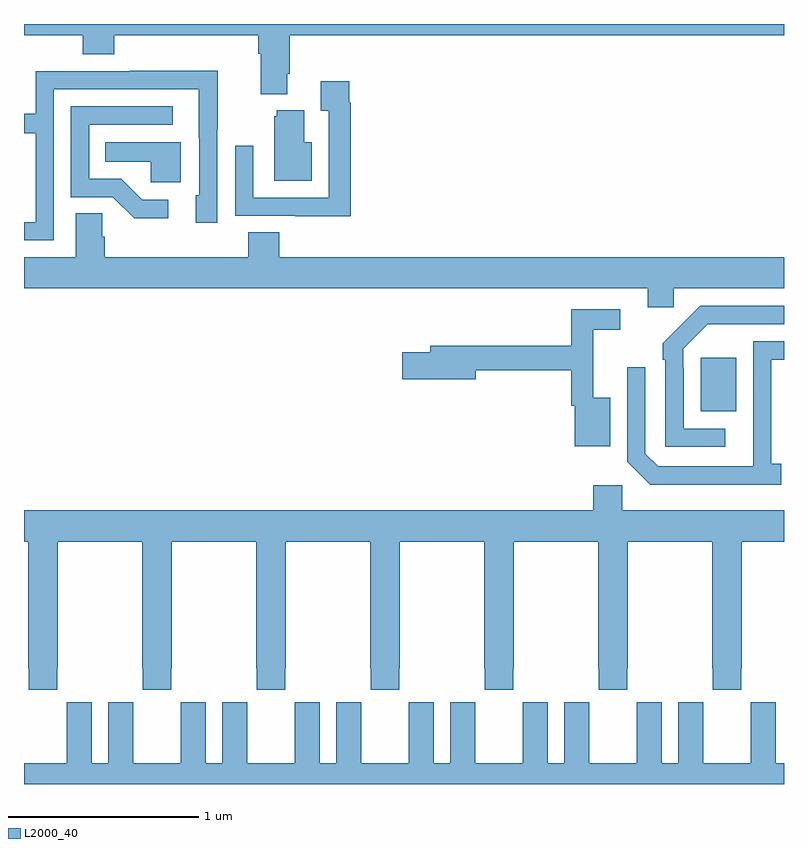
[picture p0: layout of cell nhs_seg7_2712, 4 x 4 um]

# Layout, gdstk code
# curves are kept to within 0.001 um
import gdstk
lib = gdstk.Library(unit=1e-6, precision=1e-09)
def R(c, l, rs):  # rectangles x0, y0, x1, y1
    for r in rs: c.add(gdstk.rectangle(r[:2], r[2:], *l))
def P(c, l, *ps):  # polygons
    for p in ps: c.add(gdstk.Polygon(p, *l))
L2000_40 = (2000, 40)

nhs_seg7_2712 = lib.new_cell('nhs_seg7_2712')
R(nhs_seg7_2712, L2000_40, [(290.561,1007.963,290.749,1008.244)])
P(nhs_seg7_2712, L2000_40, [(288.385,1009.738),(288.398,1009.738),(288.398,1009.94),(291,1009.94),(291,1010),(287,1010),(287,1009.94),(287.309,1009.94),(287.309,1009.841),(287.474,1009.841),(287.474,1009.94),(288.233,1009.94),(288.233,1009.844),(288.245,1009.844),(288.245,1009.631),(288.385,1009.631)],
  [(287.157,1009.656),(287.921,1009.656),(287.921,1009.402),(287.922,1009.402),(287.922,1009.098),(287.903,1009.098),(287.903,1008.954),(288.018,1008.954),(288.018,1009.447),(288.021,1009.447),(288.021,1009.754),(287.557,1009.754),(287.557,1009.752),(287.061,1009.752),(287.061,1009.527),(287,1009.527),(287,1009.426),(287.061,1009.426),(287.061,1008.957),(287,1008.957),(287,1008.861),(287.157,1008.861)],
  [(288.719,1009.586),(288.712,1009.586),(288.712,1009.699),(288.563,1009.699),(288.563,1009.543),(288.603,1009.543),(288.603,1009.086),(288.207,1009.086),(288.207,1009.36),(288.111,1009.36),(288.111,1008.99),(288.427,1008.99),(288.427,1008.989),(288.719,1008.989)],
  [(287.758,1009.074),(287.623,1009.074),(287.512,1009.185),(287.343,1009.185),(287.343,1009.47),(287.782,1009.47),(287.782,1009.566),(287.247,1009.566),(287.247,1009.089),(287.466,1009.089),(287.579,1008.977),(287.758,1008.977)],
  [(288.514,1009.378),(288.475,1009.378),(288.475,1009.546),(288.329,1009.546),(288.329,1009.515),(288.317,1009.515),(288.317,1009.175),(288.514,1009.175)],
  [(287.824,1009.378),(287.428,1009.378),(287.428,1009.274),(287.667,1009.274),(287.667,1009.166),(287.824,1009.166)],
  [(290.421,1008.608),(291,1008.608),(291,1008.772),(288.344,1008.772),(288.344,1008.905),(288.179,1008.905),(288.179,1008.772),(287.426,1008.772),(287.426,1008.881),(287.412,1008.881),(287.412,1009.004),(287.273,1009.004),(287.273,1008.772),(287,1008.772),(287,1008.608),(290.282,1008.608),(290.282,1008.51),(290.421,1008.51)],
  [(290.692,1007.871),(290.472,1007.871),(290.472,1008.191),(290.469,1008.191),(290.469,1008.291),(290.598,1008.42),(291,1008.42),(291,1008.516),(290.558,1008.516),(290.361,1008.321),(290.361,1008.233),(290.376,1008.233),(290.376,1007.775),(290.692,1007.775)],
  [(290.086,1008.034),(289.997,1008.034),(289.997,1008.39),(290.137,1008.39),(290.137,1008.498),(289.879,1008.498),(289.879,1008.307),(289.139,1008.307),(289.139,1008.273),(288.99,1008.273),(288.99,1008.131),(289.378,1008.131),(289.378,1008.178),(289.879,1008.178),(289.879,1007.991),(289.898,1007.991),(289.898,1007.777),(290.086,1007.777)],
  [(290.986,1007.686),(290.934,1007.686),(290.934,1008.234),(291,1008.234),(291,1008.33),(290.838,1008.33),(290.838,1007.673),(290.337,1007.673),(290.271,1007.739),(290.271,1008.193),(290.175,1008.193),(290.175,1007.697),(290.296,1007.576),(290.986,1007.576)],
  [(287.175,1006.609),(287.178,1006.609),(287.178,1007.276),(287.623,1007.276),(287.623,1006.609),(287.625,1006.609),(287.625,1006.497),(287.775,1006.497),(287.775,1006.609),(287.778,1006.609),(287.778,1007.276),(288.223,1007.276),(288.223,1006.609),(288.225,1006.609),(288.225,1006.497),(288.375,1006.497),(288.375,1006.609),(288.378,1006.609),(288.378,1007.276),(288.823,1007.276),(288.823,1006.609),(288.825,1006.609),(288.825,1006.497),(288.975,1006.497),(288.975,1006.609),(288.978,1006.609),(288.978,1007.276),(289.423,1007.276),(289.423,1006.609),(289.425,1006.609),(289.425,1006.497),(289.575,1006.497),(289.575,1006.609),(289.578,1006.609),(289.578,1007.276),(290.023,1007.276),(290.023,1006.609),(290.025,1006.609),(290.025,1006.497),(290.175,1006.497),(290.175,1006.609),(290.178,1006.609),(290.178,1007.276),(290.623,1007.276),(290.623,1006.609),(290.625,1006.609),(290.625,1006.497),(290.775,1006.497),(290.775,1006.609),(290.778,1006.609),(290.778,1007.276),(291,1007.276),(291,1007.44),(290.148,1007.44),(290.148,1007.572),(289.997,1007.572),(289.997,1007.44),(287,1007.44),(287,1007.276),(287.023,1007.276),(287.023,1006.609),(287.025,1006.609),(287.025,1006.497),(287.175,1006.497)],
  [(288.426,1006.429),(288.426,1006.316),(288.425,1006.316),(288.425,1006.108),(288.175,1006.108),(288.175,1006.316),(288.174,1006.316),(288.174,1006.429),(288.044,1006.429),(288.044,1006.108),(287.956,1006.108),(287.956,1006.429),(287.826,1006.429),(287.826,1006.316),(287.825,1006.316),(287.825,1006.108),(287.575,1006.108),(287.575,1006.316),(287.574,1006.316),(287.574,1006.429),(287.444,1006.429),(287.444,1006.108),(287.356,1006.108),(287.356,1006.429),(287.226,1006.429),(287.226,1006.316),(287.225,1006.316),(287.225,1006.108),(287,1006.108),(287,1006),(291,1006),(291,1006.108),(290.956,1006.108),(290.956,1006.429),(290.826,1006.429),(290.826,1006.316),(290.825,1006.316),(290.825,1006.108),(290.575,1006.108),(290.575,1006.316),(290.574,1006.316),(290.574,1006.429),(290.444,1006.429),(290.444,1006.108),(290.356,1006.108),(290.356,1006.429),(290.226,1006.429),(290.226,1006.316),(290.225,1006.316),(290.225,1006.108),(289.975,1006.108),(289.975,1006.316),(289.974,1006.316),(289.974,1006.429),(289.844,1006.429),(289.844,1006.108),(289.756,1006.108),(289.756,1006.429),(289.626,1006.429),(289.626,1006.316),(289.625,1006.316),(289.625,1006.108),(289.375,1006.108),(289.375,1006.316),(289.374,1006.316),(289.374,1006.429),(289.244,1006.429),(289.244,1006.108),(289.156,1006.108),(289.156,1006.429),(289.026,1006.429),(289.026,1006.316),(289.025,1006.316),(289.025,1006.108),(288.775,1006.108),(288.775,1006.316),(288.774,1006.316),(288.774,1006.429),(288.644,1006.429),(288.644,1006.108),(288.556,1006.108),(288.556,1006.429)])

lib.write_gds('nhs_seg7_2712.gds')
